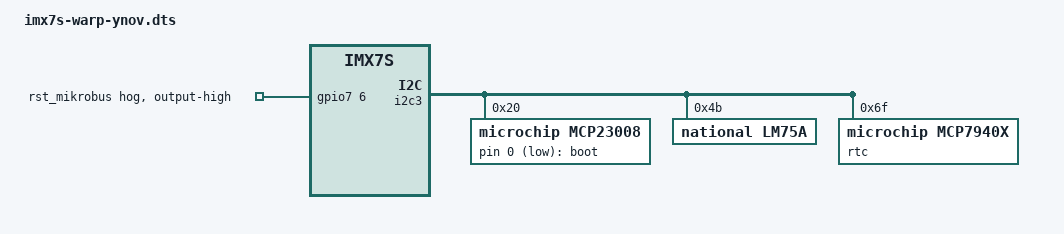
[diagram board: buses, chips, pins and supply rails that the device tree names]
// SPDX-License-Identifier: (GPL-2.0+ OR MIT)
/*
 * Copyright (C) Joris Ofoouga <offougajoris@gmail.com>
 */

/dts-v1/;

#include "imx7s-warp.dts"
#include "imx7s-warp-u-boot.dtsi"

/ {
	leds {
		u-boot,dm-pre-reloc;
		compatible = "gpio-leds";
		system {
			u-boot,dm-pre-reloc;
			label = "boot";
			gpios = <&mcp23008 0 GPIO_ACTIVE_LOW>;
			default-state = "on";
		};
	};
};

&i2c3 {
	u-boot,dm-pre-reloc;

	mcp23008: mcp23008@20 {
		compatible = "microchip,mcp23008";
		gpio-controller;
		#gpio-cells = <2>;
		reg = <0x20>;
	};

	lm75a@4b {
		compatible = "national,lm75a";
		reg = <0x4b>;
	};

	rtc@6f {
		compatible = "microchip,mcp7940x";
		reg = <0x6f>;
	};
};

&gpio7 {
	u-boot,dm-pre-reloc;
	rst_mikrobus {
		gpio-hog;
		gpios = <6 GPIO_ACTIVE_HIGH>;
		output-high;
	};
};
